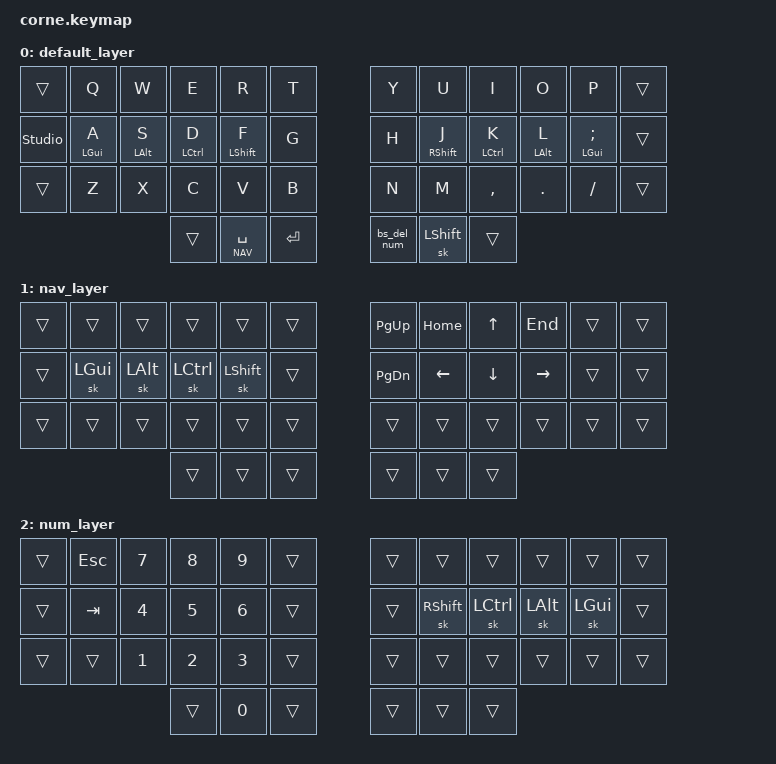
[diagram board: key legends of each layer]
/*
 * Copyright (c) 2020 The ZMK Contributors
 *
 * SPDX-License-Identifier: MIT
 */
#include <behaviors.dtsi>
#include <dt-bindings/zmk/keys.h>
#include <dt-bindings/zmk/bt.h>
#include <dt-bindings/zmk/ext_power.h>

#include "zmk-helpers/helper.h"
#include "zmk-helpers/key-labels/42.h"

#define ___ &trans

#define DEF 0
#define NAV 1
#define NUM 2

&nice_view_spi {
    cs-gpios = <&pro_micro 8 GPIO_ACTIVE_HIGH>;
};

/* Timeless homerow mods */

// https://github.com/urob/zmk-config/tree/main#timeless-homerow-mods
#define KEYS_L LT0 LT1 LT2 LT3 LT4 LT5 LM0 LM1 LM2 LM3 LM4 LM5 LB0 LB1 LB2 LB3 LB4 LB5
#define KEYS_R RT0 RT1 RT2 RT3 RT4 RT5 RM0 RM1 RM2 RM3 RM4 RM5 RB0 RB1 RB2 RB3 RB4 RB5
#define THUMBS LH2 LH1 LH0 RH0 RH1 RH2                                      

ZMK_HOLD_TAP(hml,
    flavor = "balanced";
    tapping-term-ms = <280>;
    quick-tap-ms = <175>;
    require-prior-idle-ms = <150>;
    bindings = <&kp>, <&kp>;
    hold-trigger-key-positions = <KEYS_R THUMBS>;
    hold-trigger-on-release;
)

ZMK_HOLD_TAP(hmr,
    flavor = "balanced";
    tapping-term-ms = <280>;
    quick-tap-ms = <175>;
    require-prior-idle-ms = <150>;
    bindings = <&kp>, <&kp>;
    hold-trigger-key-positions = <KEYS_L THUMBS>;
    hold-trigger-on-release;
)

/* Custom behaviors */

// tap: copy | double-tap: cut
ZMK_TAP_DANCE(copy_cut,
    tapping-term-ms = <200>;
    bindings = <&kp LC(INS)>, <&kp LC(X)>;
)

// tap: backspace | shift + tap: delete | hold: num layer
ZMK_MOD_MORPH(bs_del_num,
    bindings = <&lt NUM BSPC>, <&kp DEL>;
    mods = <(MOD_LSFT|MOD_RSFT)>;
)

// combos
ZMK_COMBO(copy_cut, &copy_cut,   LB2 LB3, ALL)  // copy on tap, cut on double-tap, active on all layers
ZMK_COMBO(paste,    &kp LS(INS), LB1 LB2, ALL)  // paste, active on all layers

ZMK_LAYER(default_layer,
     // ╭─────────────┬─────────────┬─────────────┬─────────────┬─────────────┬─────────────╮   ╭─────────────┬─────────────┬─────────────┬─────────────┬─────────────┬─────────────╮
          ___           &kp Q         &kp W         &kp E         &kp R         &kp T             &kp Y         &kp U         &kp I         &kp O         &kp P         ___
     // ├─────────────┼─────────────┼─────────────┼─────────────┼─────────────┼─────────────┤   ├─────────────┼─────────────┼─────────────┼─────────────┼─────────────┼─────────────┤
          &studio_unlock &hml LGUI A   &hml LALT S   &hml LCTRL D  &hml LSHFT F  &kp G             &kp H         &hmr RSHFT J  &hmr LCTRL K  &hmr LALT L   &hmr LGUI SEMI ___
     // ├─────────────┼─────────────┼─────────────┼─────────────┼─────────────┼─────────────┤   ├─────────────┼─────────────┼─────────────┼─────────────┼─────────────┼─────────────┤
          ___           &kp Z         &kp X         &kp C         &kp V         &kp B             &kp N         &kp M         &kp COMMA     &kp DOT       &kp SLASH     ___
     // ╰───────────────────────────────────────────────────────┼─────────────┼─────────────┤   ├─────────────┼─────────────┼─────────────┼─────────────────────────────────────────╯
                                                    ___           &lt NAV SPACE &kp RET           &bs_del_num   &sk LSHFT     ___
     //                                           ╰─────────────┴─────────────┴─────────────╯   ╰─────────────┴─────────────┴─────────────╯
)

ZMK_LAYER(nav_layer,
     // ╭─────────────┬─────────────┬─────────────┬─────────────┬─────────────┬─────────────╮   ╭─────────────┬─────────────┬─────────────┬─────────────┬─────────────┬─────────────╮
          ___           ___           ___           ___           ___           ___               &kp PG_UP     &kp HOME      &kp UP        &kp END       ___           ___
     // ├─────────────┼─────────────┼─────────────┼─────────────┼─────────────┼─────────────┤   ├─────────────┼─────────────┼─────────────┼─────────────┼─────────────┼─────────────┤
          ___           &sk LGUI      &sk LALT      &sk LCTRL     &sk LSHFT     ___               &kp PG_DN     &kp LEFT      &kp DOWN      &kp RIGHT     ___           ___
     // ├─────────────┼─────────────┼─────────────┼─────────────┼─────────────┼─────────────┤   ├─────────────┼─────────────┼─────────────┼─────────────┼─────────────┼─────────────┤
          ___           ___           ___           ___           ___           ___               ___           ___           ___           ___           ___           ___
     // ╰───────────────────────────────────────────────────────┼─────────────┼─────────────┤   ├─────────────┼─────────────┼─────────────┼─────────────────────────────────────────╯
                                                    ___           ___           ___               ___           ___           ___
     //                                           ╰─────────────┴─────────────┴─────────────╯   ╰─────────────┴─────────────┴─────────────╯
)

ZMK_LAYER(num_layer,
     // ╭─────────────┬─────────────┬─────────────┬─────────────┬─────────────┬─────────────╮   ╭─────────────┬─────────────┬─────────────┬─────────────┬─────────────┬─────────────╮
          ___           &kp ESC       &kp N7        &kp N8        &kp N9        ___               ___           ___           ___           ___           ___           ___
     // ├─────────────┼─────────────┼─────────────┼─────────────┼─────────────┼─────────────┤   ├─────────────┼─────────────┼─────────────┼─────────────┼─────────────┼─────────────┤
          ___           &kp TAB       &kp N4        &kp N5        &kp N6        ___               ___           &sk RSHFT     &sk LCTRL     &sk LALT      &sk LGUI      ___
     // ├─────────────┼─────────────┼─────────────┼─────────────┼─────────────┼─────────────┤   ├─────────────┼─────────────┼─────────────┼─────────────┼─────────────┼─────────────┤
          ___           ___           &kp N1        &kp N2        &kp N3        ___               ___           ___           ___           ___           ___           ___
     // ╰───────────────────────────────────────────────────────┼─────────────┼─────────────┤   ├─────────────┼─────────────┼─────────────┼─────────────────────────────────────────╯
                                                    ___           &kp N0        ___               ___           ___           ___
     //                                           ╰─────────────┴─────────────┴─────────────╯   ╰─────────────┴─────────────┴─────────────╯
)

/* vim: set ft=c tw=146: */
